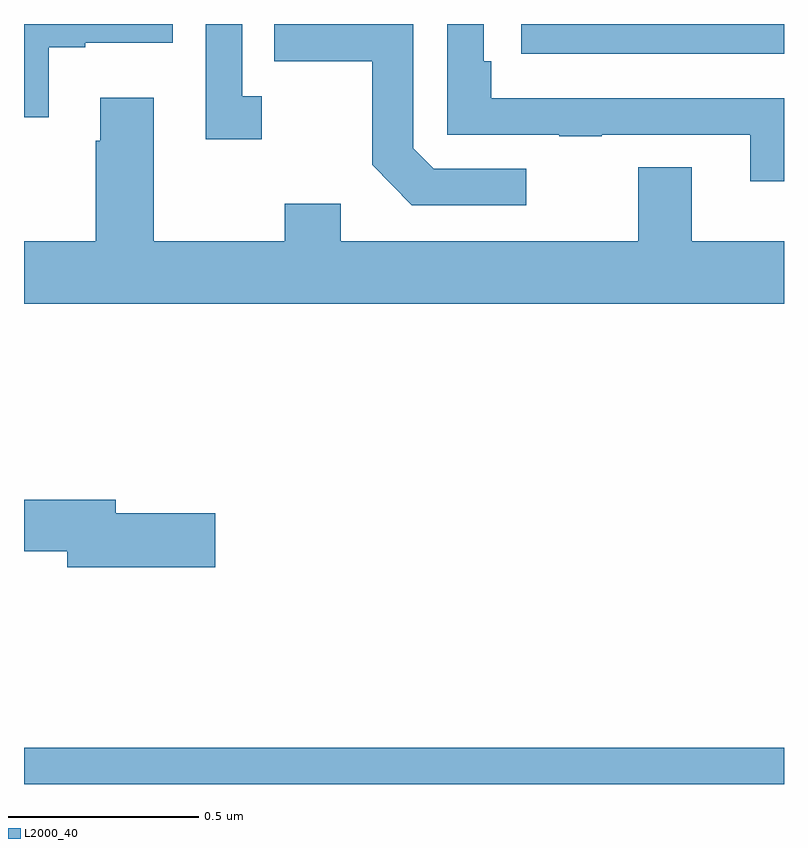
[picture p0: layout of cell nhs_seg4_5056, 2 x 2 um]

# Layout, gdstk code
import gdstk
lib = gdstk.Library(unit=1e-6, precision=1e-09)
def R(c, l, rs):  # rectangles x0, y0, x1, y1
    for r in rs: c.add(gdstk.rectangle(r[:2], r[2:], *l))
def P(c, l, *ps):  # polygons
    for p in ps: c.add(gdstk.Polygon(p, *l))
L2000_40 = (2000, 40)

nhs_seg4_5056 = lib.new_cell('nhs_seg4_5056')
R(nhs_seg4_5056, L2000_40, [(173,784.9,175,784.996), (174.309,786.822,175,786.9)])
P(nhs_seg4_5056, L2000_40, [(173.065,786.839),(173.161,786.839),(173.161,786.851),(173.392,786.851),(173.392,786.9),(173,786.9),(173,786.654),(173.065,786.654)],
  [(174.322,786.519),(174.078,786.519),(174.024,786.573),(174.024,786.9),(173.659,786.9),(173.659,786.802),(173.916,786.802),(173.916,786.529),(174.021,786.423),(174.322,786.423)],
  [(175,786.704),(174.905,786.704),(174.905,786.705),(174.23,786.705),(174.23,786.802),(174.21,786.802),(174.21,786.9),(174.114,786.9),(174.114,786.609),(174.409,786.609),(174.409,786.604),(174.521,786.604),(174.521,786.609),(174.911,786.609),(174.911,786.486),(175,786.486)],
  [(173.626,786.71),(173.574,786.71),(173.574,786.9),(173.478,786.9),(173.478,786.597),(173.626,786.597)],
  [(175,786.328),(174.757,786.328),(174.757,786.523),(174.617,786.523),(174.617,786.328),(173.833,786.328),(173.833,786.427),(173.686,786.427),(173.686,786.328),(173.341,786.328),(173.341,786.706),(173.201,786.706),(173.201,786.593),(173.189,786.593),(173.189,786.328),(173,786.328),(173,786.164),(175,786.164)],
  [(173.503,785.612),(173.242,785.612),(173.242,785.648),(173,785.648),(173,785.512),(173.114,785.512),(173.114,785.47),(173.503,785.47)])

lib.write_gds('nhs_seg4_5056.gds')
